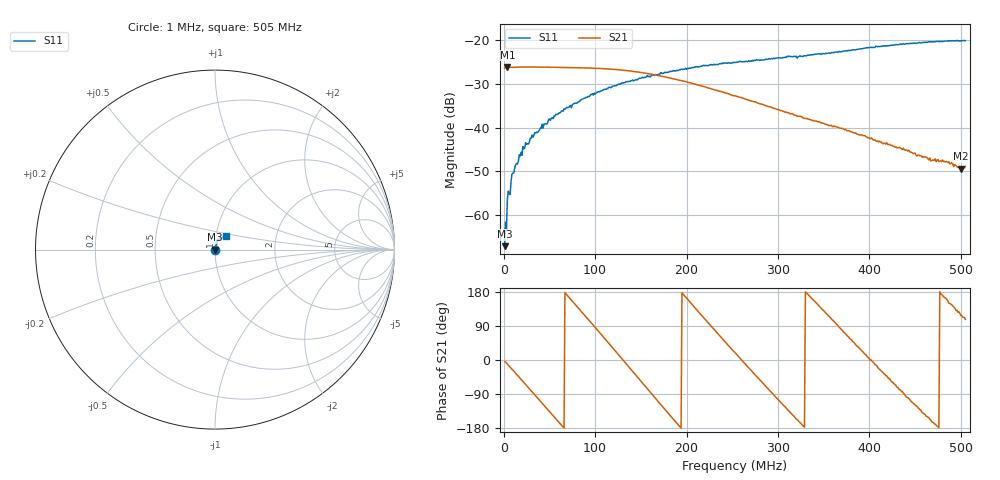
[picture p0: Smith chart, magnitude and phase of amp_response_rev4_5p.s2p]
# HZ S RI R 50
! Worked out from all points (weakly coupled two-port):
!   505 points, 1 MHz to 505 MHz, reference 50 ohm
!   highest |S21| = -26.09 dB at 4 MHz (marker M1); lowest = -49.4 dB at 500 MHz (marker M2)
!   lowest |S11| = -67.2 dB at 1 MHz (marker M3), VSWR 1.00, Z = 50 + j0.00111 ohm
!   |S11| at or under -10 dB: start of sweep to end of sweep
!   S12 and S22 are empty: the file has one direction only
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1000000  -0.000439 1.11e-05  0.0479 -0.00341  0 0  0 0
4000000  -0.000185 0.00148  0.0487 -0.00937  0 0  0 0
5000000  0.00044 0.00182  0.0481 -0.0117  0 0  0 0
6000000  0.000258 0.00175  0.0473 -0.0139  0 0  0 0
1.1e7  0.000382 0.003  0.0427 -0.0241  0 0  0 0
2.3e7  0.000595 0.00583  0.0233 -0.0437  0 0  0 0
3.3e7  0.00136 0.0081  0.000591 -0.0495  0 0  0 0
5.1e7  0.0035 0.0116  -0.0368 -0.0326  0 0  0 0
8.5e7  0.00625 0.02  -0.0296 0.0383  0 0  0 0
1.05e8  0.00741 0.0246  0.0146 0.0453  0 0  0 0
1.28e8  0.00873 0.0304  0.0455 0.00566  0 0  0 0
1.69e8  0.0097 0.0394  -0.0133 -0.0372  0 0  0 0
1.91e8  0.0112 0.0439  -0.0347 -0.0052  0 0  0 0
2.15e8  0.0121 0.0484  -0.0161 0.0257  0 0  0 0
2.53e8  0.0147 0.054  0.0218 0.00764  0 0  0 0
2.9e8  0.0197 0.0583  0.00358 -0.0171  0 0  0 0
3.37e8  0.028 0.0625  -0.0116 0.00366  0 0  0 0
4.21e8  0.0487 0.0717  0.00418 -0.00485  0 0  0 0
4.66e8  0.0581 0.077  -0.00413 -0.00178  0 0  0 0
4.82e8  0.0588 0.0782  -0.00396 0.00105  0 0  0 0
5e8  0.0598 0.0779  -0.00156 0.003  0 0  0 0
5.05e8  0.0604 0.0782  -0.00107 0.00345  0 0  0 0
